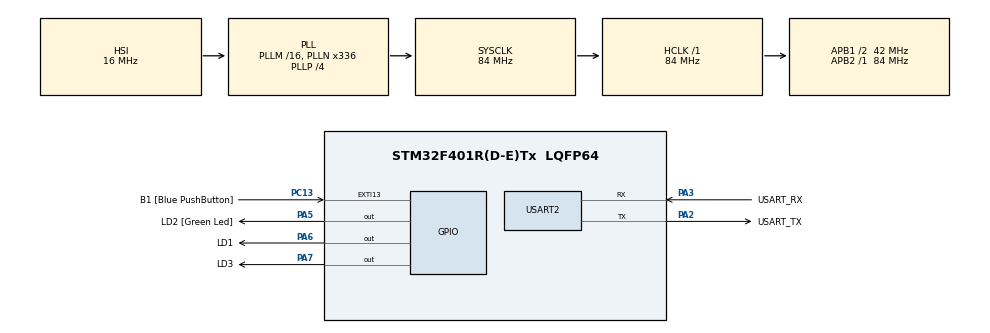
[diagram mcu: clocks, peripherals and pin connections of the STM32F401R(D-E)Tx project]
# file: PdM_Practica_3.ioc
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Mcu.Family=STM32F4
Mcu.Name=STM32F401R(D-E)Tx
Mcu.Package=LQFP64
NVIC.PriorityGroup=NVIC_PRIORITYGROUP_0
PA13.GPIO_Label=TMS
PA13.Mode=Serial_Wire
PA13.Signal=SYS_JTMS-SWDIO
PA14.GPIO_Label=TCK
PA14.Mode=Serial_Wire
PA14.Signal=SYS_JTCK-SWCLK
PA2.GPIO_Label=USART_TX
PA2.GPIO_Mode=GPIO_MODE_AF_PP
PA2.GPIO_PuPd=GPIO_NOPULL
PA2.GPIO_Speed=GPIO_SPEED_FREQ_LOW
PA2.Mode=Asynchronous
PA2.Signal=USART2_TX
PA3.GPIO_Label=USART_RX
PA3.GPIO_Mode=GPIO_MODE_AF_PP
PA3.GPIO_PuPd=GPIO_NOPULL
PA3.GPIO_Speed=GPIO_SPEED_FREQ_LOW
PA3.Mode=Asynchronous
PA3.Signal=USART2_RX
PA5.GPIO_Label=LD2 [Green Led]
PA5.GPIO_Mode=GPIO_MODE_OUTPUT_PP
PA5.GPIO_PuPd=GPIO_NOPULL
PA5.GPIO_Speed=GPIO_SPEED_FREQ_LOW
PA5.Signal=GPIO_Output
PA6.GPIO_Label=LD1
PA6.Signal=GPIO_Output
PA7.GPIO_Label=LD3
PA7.Signal=GPIO_Output
PB3.GPIO_Label=SWO
PB3.Signal=SYS_JTDO-SWO
PC13-ANTI_TAMP.GPIO_Label=B1 [Blue PushButton]
PC13-ANTI_TAMP.GPIO_ModeDefaultEXTI=GPIO_MODE_IT_FALLING
PC13-ANTI_TAMP.GPIO_PuPd=GPIO_NOPULL
PC13-ANTI_TAMP.Signal=GPXTI13
PC14-OSC32_IN.Mode=LSE-External-Oscillator
PC14-OSC32_IN.Signal=RCC_OSC32_IN
PC15-OSC32_OUT.Mode=LSE-External-Oscillator
PC15-OSC32_OUT.Signal=RCC_OSC32_OUT
PH0\ -\ OSC_IN.Mode=HSE-External-Clock-Source
PH0\ -\ OSC_IN.Signal=RCC_OSC_IN
PH1\ -\ OSC_OUT.Mode=HSE-External-Clock-Source
PH1\ -\ OSC_OUT.Signal=RCC_OSC_OUT
ProjectManager.HeapSize=0x200
ProjectManager.StackSize=0x400
ProjectManager.TargetToolchain=STM32CubeIDE
RCC.48MHZClocksFreq_Value=48000000
RCC.AHBFreq_Value=84000000
RCC.APB1CLKDivider=RCC_HCLK_DIV2
RCC.APB1Freq_Value=42000000
RCC.APB1TimFreq_Value=84000000
RCC.APB2Freq_Value=84000000
RCC.APB2TimFreq_Value=84000000
RCC.CortexFreq_Value=84000000
RCC.HCLKFreq_Value=84000000
RCC.HSE_VALUE=8000000
RCC.HSI_VALUE=16000000
RCC.PLLN=336
RCC.PLLP=RCC_PLLP_DIV4
RCC.PLLQ=7
RCC.SYSCLKFreq_VALUE=84000000
RCC.SYSCLKSource=RCC_SYSCLKSOURCE_PLLCLK
RCC.VCOOutputFreq_Value=336000000
USART2.VirtualMode=VM_ASYNC
board=NUCLEO-F401RE

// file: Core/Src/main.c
/* USER CODE BEGIN Header */
/**
 ******************************************************************************
 * @file           : main.c
 * @brief          : Main program body
 ******************************************************************************
 * @attention
 *
 * Copyright (c) 2023 STMicroelectronics.
 * All rights reserved.
 *
 * This software is licensed under terms that can be found in the LICENSE file
 * in the root directory of this software component.
 * If no LICENSE file comes with this software, it is provided AS-IS.
 *
 ******************************************************************************
 */
/* USER CODE END Header */
#include "main.h"

/* USER CODE BEGIN Includes */

#include "API_delay.h"

/* USER CODE END Includes */

/* USER CODE BEGIN PD */

#define LED1_DURATION 100
#define LED2_DURATION 500
#define LED3_DURATION 1000

/* USER CODE END PD */

UART_HandleTypeDef huart2;

void SystemClock_Config(void);
static void MX_GPIO_Init(void);
static void MX_USART2_UART_Init(void);

int main(void)
{

  /* MCU Configuration--------------------------------------------------------*/

  /* Reset of all peripherals, Initializes the Flash interface and the Systick. */
  HAL_Init();

  /* Configure the system clock */
  SystemClock_Config();

  /* Initialize all configured peripherals */
  MX_GPIO_Init();
  MX_USART2_UART_Init();
  /* USER CODE BEGIN 2 */

  static delay_t LD1_Delay;
  static delay_t LD2_Delay;
  static delay_t LD3_Delay;

  const ledConf_t led1 = {
      .pin = LD1_Pin,
      .port = LD1_GPIO_Port,
      .delay = &LD1_Delay};

  const ledConf_t led2 = {
      .pin = LD2_Pin,
      .port = LD2_GPIO_Port,
      .delay = &LD2_Delay};

  const ledConf_t led3 = {
      .pin = LD3_Pin,
      .port = LD3_GPIO_Port,
      .delay = &LD3_Delay};

  static ledConf_t ledArray[3] = {led1, led2, led3};

  delayInit(led1.delay, LED1_DURATION);
  delayInit(led2.delay, LED2_DURATION);
  delayInit(led3.delay, LED3_DURATION);
  /* USER CODE END 2 */

  /* Infinite loop */
  /* USER CODE BEGIN WHILE */
  static bool isDelayCompleted;

  while (1)
  {
    /* USER CODE END WHILE */

    /* USER CODE BEGIN 3 */
	for (int i = 0; i < (sizeof(ledArray)/sizeof(*ledArray)); i++)
	{
	  isDelayCompleted = delayRead(ledArray[i].delay);
	  if (isDelayCompleted)
	  {
		HAL_GPIO_TogglePin(ledArray[i].port, ledArray[i].pin);
	  }

	}
  }
  /* USER CODE END 3 */
}

void SystemClock_Config(void)
{
  RCC_OscInitTypeDef RCC_OscInitStruct = {0};
  RCC_ClkInitTypeDef RCC_ClkInitStruct = {0};

  /** Configure the main internal regulator output voltage
   */
  __HAL_RCC_PWR_CLK_ENABLE();
  __HAL_PWR_VOLTAGESCALING_CONFIG(PWR_REGULATOR_VOLTAGE_SCALE2);

  /** Initializes the RCC Oscillators according to the specified parameters
   * in the RCC_OscInitTypeDef structure.
   */
  RCC_OscInitStruct.OscillatorType = RCC_OSCILLATORTYPE_HSI;
  RCC_OscInitStruct.HSIState = RCC_HSI_ON;
  RCC_OscInitStruct.HSICalibrationValue = RCC_HSICALIBRATION_DEFAULT;
  RCC_OscInitStruct.PLL.PLLState = RCC_PLL_ON;
  RCC_OscInitStruct.PLL.PLLSource = RCC_PLLSOURCE_HSI;
  RCC_OscInitStruct.PLL.PLLM = 16;
  RCC_OscInitStruct.PLL.PLLN = 336;
  RCC_OscInitStruct.PLL.PLLP = RCC_PLLP_DIV4;
  RCC_OscInitStruct.PLL.PLLQ = 7;
  if (HAL_RCC_OscConfig(&RCC_OscInitStruct) != HAL_OK)
  {
    Error_Handler();
  }

  /** Initializes the CPU, AHB and APB buses clocks
   */
  RCC_ClkInitStruct.ClockType = RCC_CLOCKTYPE_HCLK | RCC_CLOCKTYPE_SYSCLK | RCC_CLOCKTYPE_PCLK1 | RCC_CLOCKTYPE_PCLK2;
  RCC_ClkInitStruct.SYSCLKSource = RCC_SYSCLKSOURCE_PLLCLK;
  RCC_ClkInitStruct.AHBCLKDivider = RCC_SYSCLK_DIV1;
  RCC_ClkInitStruct.APB1CLKDivider = RCC_HCLK_DIV2;
  RCC_ClkInitStruct.APB2CLKDivider = RCC_HCLK_DIV1;

  if (HAL_RCC_ClockConfig(&RCC_ClkInitStruct, FLASH_LATENCY_2) != HAL_OK)
  {
    Error_Handler();
  }
}

static void MX_USART2_UART_Init(void)
{

  huart2.Instance = USART2;
  huart2.Init.BaudRate = 115200;
  huart2.Init.WordLength = UART_WORDLENGTH_8B;
  huart2.Init.StopBits = UART_STOPBITS_1;
  huart2.Init.Parity = UART_PARITY_NONE;
  huart2.Init.Mode = UART_MODE_TX_RX;
  huart2.Init.HwFlowCtl = UART_HWCONTROL_NONE;
  huart2.Init.OverSampling = UART_OVERSAMPLING_16;
  if (HAL_UART_Init(&huart2) != HAL_OK)
  {
    Error_Handler();
  }
}

static void MX_GPIO_Init(void)
{
  GPIO_InitTypeDef GPIO_InitStruct = {0};

  /* GPIO Ports Clock Enable */
  __HAL_RCC_GPIOC_CLK_ENABLE();
  __HAL_RCC_GPIOH_CLK_ENABLE();
  __HAL_RCC_GPIOA_CLK_ENABLE();
  __HAL_RCC_GPIOB_CLK_ENABLE();

  /*Configure GPIO pin Output Level */
  HAL_GPIO_WritePin(GPIOA, LD2_Pin | LD1_Pin | LD3_Pin, GPIO_PIN_RESET);

  /*Configure GPIO pin : B1_Pin */
  GPIO_InitStruct.Pin = B1_Pin;
  GPIO_InitStruct.Mode = GPIO_MODE_IT_FALLING;
  GPIO_InitStruct.Pull = GPIO_NOPULL;
  HAL_GPIO_Init(B1_GPIO_Port, &GPIO_InitStruct);

  /*Configure GPIO pins : LD2_Pin LD1_Pin LD3_Pin */
  GPIO_InitStruct.Pin = LD2_Pin | LD1_Pin | LD3_Pin;
  GPIO_InitStruct.Mode = GPIO_MODE_OUTPUT_PP;
  GPIO_InitStruct.Pull = GPIO_NOPULL;
  GPIO_InitStruct.Speed = GPIO_SPEED_FREQ_LOW;
  HAL_GPIO_Init(GPIOA, &GPIO_InitStruct);

}

void Error_Handler(void)
{
  __disable_irq();
  while (1)
  {
  }
}
